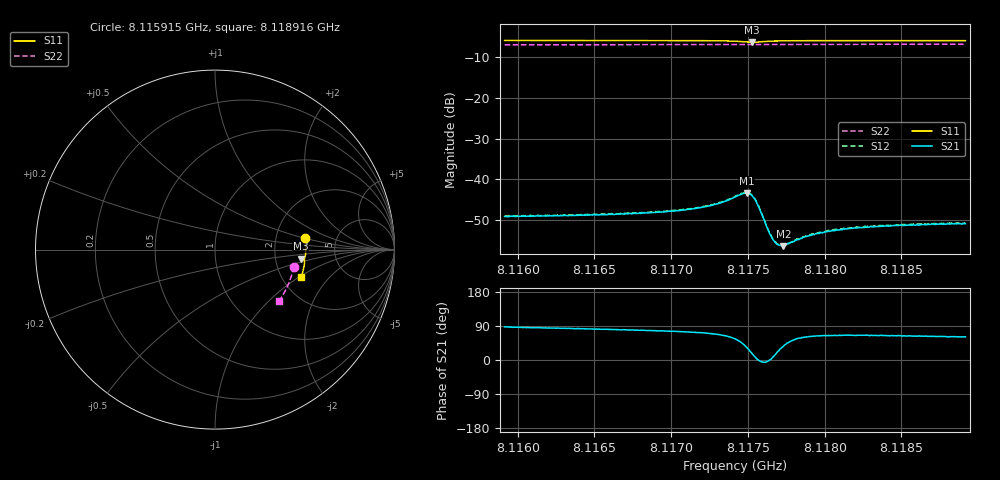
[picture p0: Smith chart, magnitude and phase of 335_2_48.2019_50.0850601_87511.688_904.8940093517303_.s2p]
#  HZ  S  RI  R  50.00
! Rohde & Schwarz Vector Network Analyzer
! Rohde-Schwarz,ZNB20-2Port,1311601062101988,3.16
! Created: UTC 3/20/2024, 11:51:03 AM
! freq[Hz]  re:S11  im:S11  re:S21  im:S21  re:S12  im:S12  re:S22  im:S22
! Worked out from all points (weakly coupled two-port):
!   401 points, 8.115915 GHz to 8.118916 GHz, reference 50 ohm
!   highest |S21| = -43.42 dB at 8.11749 GHz (marker M1); lowest = -56.5 dB at 8.117731 GHz (marker M2)
!   lowest |S11| = -6.3 dB at 8.117528 GHz (marker M3), VSWR 2.86, Z = 140 - j18.4 ohm
!   |S11| at or under -10 dB: nowhere
!   |S22| runs from -7.0 to -6.8 dB; largest |S21 - S12| = 0.00019
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8.1159145e9  0.5033 0.0644  0.000165 0.00347  0.00021 0.00354  0.4381 -0.0955
8.1164173e9  0.5062 0.0268  0.000457 0.00357  0.000542 0.00362  0.4306 -0.1295
8.1169201e9  0.5057 -0.0119  0.000895 0.00383  0.000946 0.0039  0.4206 -0.163
8.1171227e9  0.5041 -0.0282  0.00119 0.00409  0.00125 0.00416  0.4158 -0.1764
8.1172353e9  0.5024 -0.0379  0.00155 0.00437  0.0016 0.00447  0.4128 -0.1837
8.1173178e9  0.5002 -0.0458  0.00201 0.00466  0.00212 0.00475  0.4105 -0.189
8.1174154e9  0.4936 -0.0554  0.00338 0.00501  0.0035 0.00506  0.4077 -0.1953
8.1174904e9  0.4822 -0.0569  0.00561 0.00375  0.00575 0.00378  0.405 -0.1999
8.117528e9  0.4789 -0.0504  0.00599 0.00174  0.0061 0.00169  0.4039 -0.2019
8.1175505e9  0.4808 -0.0464  0.00539 0.000573  0.00552 0.000529  0.4034 -0.2029
8.1175655e9  0.4831 -0.0447  0.00477 3.3e-05  0.0049 1.53e-05  0.4031 -0.2039
8.1176255e9  0.4928 -0.0466  0.00251 -0.000177  0.00255 -0.000189  0.4018 -0.2077
8.1176555e9  0.4956 -0.05  0.0019 0.000155  0.00195 0.000144  0.4013 -0.2097
8.1176931e9  0.4975 -0.0543  0.00146 0.000596  0.0015 0.000563  0.4001 -0.212
8.1177156e9  0.4982 -0.0569  0.00131 0.000798  0.00135 0.000802  0.3994 -0.2135
8.1177306e9  0.4985 -0.0584  0.00121 0.000886  0.00124 0.000894  0.3989 -0.2146
8.1177756e9  0.4991 -0.0632  0.00108 0.00125  0.00111 0.00123  0.3978 -0.2175
8.1178281e9  0.4991 -0.0681  0.000981 0.00152  0.00101 0.00154  0.3961 -0.2209
8.1179182e9  0.4986 -0.0761  0.000959 0.00183  0.000991 0.0019  0.3931 -0.2264
8.1181358e9  0.496 -0.0937  0.00102 0.00223  0.00109 0.00223  0.386 -0.2398
8.118421e9  0.4914 -0.1154  0.00118 0.00238  0.00117 0.00242  0.3756 -0.257
8.1189163e9  0.4811 -0.1513  0.00137 0.00249  0.00143 0.00254  0.356 -0.2861
